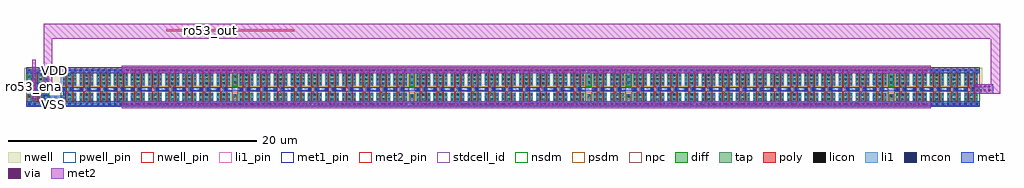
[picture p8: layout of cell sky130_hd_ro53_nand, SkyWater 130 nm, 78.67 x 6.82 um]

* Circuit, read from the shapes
.subckt sky130_hd_ro53_nand VDD VSS ro53_ena ro53_out
XM1 n1 ro53_ena VSS VSS sky130_fd_pr__nfet_01v8 w=0.65 l=0.15
XM2 sky130_hd_inv_1_7/A ro53_out n1 VSS sky130_fd_pr__nfet_01v8 w=0.65 l=0.15
XM3 sky130_hd_inv_1_8/A sky130_hd_inv_1_7/A VSS VSS sky130_fd_pr__nfet_01v8 w=0.65 l=0.15 m=2
XM4 sky130_hd_inv_1_9/A sky130_hd_inv_1_8/A VSS VSS sky130_fd_pr__nfet_01v8 w=0.65 l=0.15 m=2
XM5 sky130_hd_inv_1_10/A sky130_hd_inv_1_9/A VSS VSS sky130_fd_pr__nfet_01v8 w=0.65 l=0.15 m=2
XM6 sky130_hd_inv_1_11/A sky130_hd_inv_1_10/A VSS VSS sky130_fd_pr__nfet_01v8 w=0.65 l=0.15 m=2
XM7 sky130_hd_inv_1_12/A sky130_hd_inv_1_11/A VSS VSS sky130_fd_pr__nfet_01v8 w=0.65 l=0.15 m=2
XM8 sky130_hd_inv_1_13/A sky130_hd_inv_1_12/A VSS VSS sky130_fd_pr__nfet_01v8 w=0.65 l=0.15 m=2
XM9 sky130_hd_inv_1_14/A sky130_hd_inv_1_13/A VSS VSS sky130_fd_pr__nfet_01v8 w=0.65 l=0.15 m=2
XM10 sky130_hd_inv_1_15/A sky130_hd_inv_1_14/A VSS VSS sky130_fd_pr__nfet_01v8 w=0.65 l=0.15 m=2
XM11 sky130_hd_inv_1_16/A sky130_hd_inv_1_15/A VSS VSS sky130_fd_pr__nfet_01v8 w=0.65 l=0.15 m=2
XM12 sky130_hd_inv_1_17/A sky130_hd_inv_1_16/A VSS VSS sky130_fd_pr__nfet_01v8 w=0.65 l=0.15 m=2
XM13 sky130_hd_inv_1_18/A sky130_hd_inv_1_17/A VSS VSS sky130_fd_pr__nfet_01v8 w=0.65 l=0.15 m=2
XM14 sky130_hd_inv_1_19/A sky130_hd_inv_1_18/A VSS VSS sky130_fd_pr__nfet_01v8 w=0.65 l=0.15 m=2
XM15 sky130_hd_inv_1_20/A sky130_hd_inv_1_19/A VSS VSS sky130_fd_pr__nfet_01v8 w=0.65 l=0.15 m=2
XM16 sky130_hd_inv_1_21/A sky130_hd_inv_1_20/A VSS VSS sky130_fd_pr__nfet_01v8 w=0.65 l=0.15 m=2
XM17 sky130_hd_inv_1_22/A sky130_hd_inv_1_21/A VSS VSS sky130_fd_pr__nfet_01v8 w=0.65 l=0.15 m=2
XM18 sky130_hd_inv_1_23/A sky130_hd_inv_1_22/A VSS VSS sky130_fd_pr__nfet_01v8 w=0.65 l=0.15 m=2
XM19 sky130_hd_inv_1_24/A sky130_hd_inv_1_23/A VSS VSS sky130_fd_pr__nfet_01v8 w=0.65 l=0.15 m=2
XM20 sky130_hd_inv_1_25/A sky130_hd_inv_1_24/A VSS VSS sky130_fd_pr__nfet_01v8 w=0.65 l=0.15 m=2
XM21 sky130_hd_inv_1_26/A sky130_hd_inv_1_25/A VSS VSS sky130_fd_pr__nfet_01v8 w=0.65 l=0.15 m=2
XM22 sky130_hd_inv_1_27/A sky130_hd_inv_1_26/A VSS VSS sky130_fd_pr__nfet_01v8 w=0.65 l=0.15 m=2
XM23 sky130_hd_inv_1_28/A sky130_hd_inv_1_27/A VSS VSS sky130_fd_pr__nfet_01v8 w=0.65 l=0.15 m=2
XM24 sky130_hd_inv_1_29/A sky130_hd_inv_1_28/A VSS VSS sky130_fd_pr__nfet_01v8 w=0.65 l=0.15 m=2
XM25 sky130_hd_inv_1_30/A sky130_hd_inv_1_29/A VSS VSS sky130_fd_pr__nfet_01v8 w=0.65 l=0.15 m=2
XM26 sky130_hd_inv_1_31/A sky130_hd_inv_1_30/A VSS VSS sky130_fd_pr__nfet_01v8 w=0.65 l=0.15 m=2
XM27 sky130_hd_inv_1_32/A sky130_hd_inv_1_31/A VSS VSS sky130_fd_pr__nfet_01v8 w=0.65 l=0.15 m=2
XM28 sky130_hd_inv_1_33/A sky130_hd_inv_1_32/A VSS VSS sky130_fd_pr__nfet_01v8 w=0.65 l=0.15 m=2
XM29 sky130_hd_inv_1_34/A sky130_hd_inv_1_33/A VSS VSS sky130_fd_pr__nfet_01v8 w=0.65 l=0.15 m=2
XM30 sky130_hd_inv_1_35/A sky130_hd_inv_1_34/A VSS VSS sky130_fd_pr__nfet_01v8 w=0.65 l=0.15 m=2
XM31 sky130_hd_inv_1_36/A sky130_hd_inv_1_35/A VSS VSS sky130_fd_pr__nfet_01v8 w=0.65 l=0.15 m=2
XM32 sky130_hd_inv_1_37/A sky130_hd_inv_1_36/A VSS VSS sky130_fd_pr__nfet_01v8 w=0.65 l=0.15 m=2
XM33 sky130_hd_inv_1_38/A sky130_hd_inv_1_37/A VSS VSS sky130_fd_pr__nfet_01v8 w=0.65 l=0.15 m=2
XM34 sky130_hd_inv_1_39/A sky130_hd_inv_1_38/A VSS VSS sky130_fd_pr__nfet_01v8 w=0.65 l=0.15 m=2
XM35 sky130_hd_inv_1_40/A sky130_hd_inv_1_39/A VSS VSS sky130_fd_pr__nfet_01v8 w=0.65 l=0.15 m=2
XM36 sky130_hd_inv_1_41/A sky130_hd_inv_1_40/A VSS VSS sky130_fd_pr__nfet_01v8 w=0.65 l=0.15 m=2
XM37 sky130_hd_inv_1_42/A sky130_hd_inv_1_41/A VSS VSS sky130_fd_pr__nfet_01v8 w=0.65 l=0.15 m=2
XM38 sky130_hd_inv_1_43/A sky130_hd_inv_1_42/A VSS VSS sky130_fd_pr__nfet_01v8 w=0.65 l=0.15 m=2
XM39 sky130_hd_inv_1_44/A sky130_hd_inv_1_43/A VSS VSS sky130_fd_pr__nfet_01v8 w=0.65 l=0.15 m=2
XM40 sky130_hd_inv_1_45/A sky130_hd_inv_1_44/A VSS VSS sky130_fd_pr__nfet_01v8 w=0.65 l=0.15 m=2
XM41 sky130_hd_inv_1_46/A sky130_hd_inv_1_45/A VSS VSS sky130_fd_pr__nfet_01v8 w=0.65 l=0.15 m=2
XM42 sky130_hd_inv_1_47/A sky130_hd_inv_1_46/A VSS VSS sky130_fd_pr__nfet_01v8 w=0.65 l=0.15 m=2
XM43 sky130_hd_inv_1_48/A sky130_hd_inv_1_47/A VSS VSS sky130_fd_pr__nfet_01v8 w=0.65 l=0.15 m=2
XM44 sky130_hd_inv_1_49/A sky130_hd_inv_1_48/A VSS VSS sky130_fd_pr__nfet_01v8 w=0.65 l=0.15 m=2
XM45 sky130_hd_inv_1_50/A sky130_hd_inv_1_49/A VSS VSS sky130_fd_pr__nfet_01v8 w=0.65 l=0.15 m=2
XM46 sky130_hd_inv_1_51/A sky130_hd_inv_1_50/A VSS VSS sky130_fd_pr__nfet_01v8 w=0.65 l=0.15 m=2
XM47 sky130_hd_inv_1_52/A sky130_hd_inv_1_51/A VSS VSS sky130_fd_pr__nfet_01v8 w=0.65 l=0.15 m=2
XM48 sky130_hd_inv_1_53/A sky130_hd_inv_1_52/A VSS VSS sky130_fd_pr__nfet_01v8 w=0.65 l=0.15 m=2
XM49 sky130_hd_inv_1_54/A sky130_hd_inv_1_53/A VSS VSS sky130_fd_pr__nfet_01v8 w=0.65 l=0.15 m=2
XM50 sky130_hd_inv_1_55/A sky130_hd_inv_1_54/A VSS VSS sky130_fd_pr__nfet_01v8 w=0.65 l=0.15 m=2
XM51 sky130_hd_inv_1_56/A sky130_hd_inv_1_55/A VSS VSS sky130_fd_pr__nfet_01v8 w=0.65 l=0.15 m=2
XM52 sky130_hd_inv_1_57/A sky130_hd_inv_1_56/A VSS VSS sky130_fd_pr__nfet_01v8 w=0.65 l=0.15 m=2
XM53 sky130_hd_inv_1_58/A sky130_hd_inv_1_57/A VSS VSS sky130_fd_pr__nfet_01v8 w=0.65 l=0.15 m=2
XM54 ro53_out sky130_hd_inv_1_58/A VSS VSS sky130_fd_pr__nfet_01v8 w=0.65 l=0.15 m=2
XM55 sky130_hd_inv_1_7/A ro53_ena VDD VDD sky130_fd_pr__pfet_01v8 w=1 l=0.15
XM56 VDD ro53_out sky130_hd_inv_1_7/A VDD sky130_fd_pr__pfet_01v8 w=1 l=0.15
XM57 sky130_hd_inv_1_8/A sky130_hd_inv_1_7/A VDD VDD sky130_fd_pr__pfet_01v8 w=1 l=0.15 m=2
XM58 sky130_hd_inv_1_9/A sky130_hd_inv_1_8/A VDD VDD sky130_fd_pr__pfet_01v8 w=1 l=0.15 m=2
XM59 sky130_hd_inv_1_10/A sky130_hd_inv_1_9/A VDD VDD sky130_fd_pr__pfet_01v8 w=1 l=0.15 m=2
XM60 sky130_hd_inv_1_11/A sky130_hd_inv_1_10/A VDD VDD sky130_fd_pr__pfet_01v8 w=1 l=0.15 m=2
XM61 sky130_hd_inv_1_12/A sky130_hd_inv_1_11/A VDD VDD sky130_fd_pr__pfet_01v8 w=1 l=0.15 m=2
XM62 sky130_hd_inv_1_13/A sky130_hd_inv_1_12/A VDD VDD sky130_fd_pr__pfet_01v8 w=1 l=0.15 m=2
XM63 sky130_hd_inv_1_14/A sky130_hd_inv_1_13/A VDD VDD sky130_fd_pr__pfet_01v8 w=1 l=0.15 m=2
XM64 sky130_hd_inv_1_15/A sky130_hd_inv_1_14/A VDD VDD sky130_fd_pr__pfet_01v8 w=1 l=0.15 m=2
XM65 sky130_hd_inv_1_16/A sky130_hd_inv_1_15/A VDD VDD sky130_fd_pr__pfet_01v8 w=1 l=0.15 m=2
XM66 sky130_hd_inv_1_17/A sky130_hd_inv_1_16/A VDD VDD sky130_fd_pr__pfet_01v8 w=1 l=0.15 m=2
XM67 sky130_hd_inv_1_18/A sky130_hd_inv_1_17/A VDD VDD sky130_fd_pr__pfet_01v8 w=1 l=0.15 m=2
XM68 sky130_hd_inv_1_19/A sky130_hd_inv_1_18/A VDD VDD sky130_fd_pr__pfet_01v8 w=1 l=0.15 m=2
XM69 sky130_hd_inv_1_20/A sky130_hd_inv_1_19/A VDD VDD sky130_fd_pr__pfet_01v8 w=1 l=0.15 m=2
XM70 sky130_hd_inv_1_21/A sky130_hd_inv_1_20/A VDD VDD sky130_fd_pr__pfet_01v8 w=1 l=0.15 m=2
XM71 sky130_hd_inv_1_22/A sky130_hd_inv_1_21/A VDD VDD sky130_fd_pr__pfet_01v8 w=1 l=0.15 m=2
XM72 sky130_hd_inv_1_23/A sky130_hd_inv_1_22/A VDD VDD sky130_fd_pr__pfet_01v8 w=1 l=0.15 m=2
XM73 sky130_hd_inv_1_24/A sky130_hd_inv_1_23/A VDD VDD sky130_fd_pr__pfet_01v8 w=1 l=0.15 m=2
XM74 sky130_hd_inv_1_25/A sky130_hd_inv_1_24/A VDD VDD sky130_fd_pr__pfet_01v8 w=1 l=0.15 m=2
XM75 sky130_hd_inv_1_26/A sky130_hd_inv_1_25/A VDD VDD sky130_fd_pr__pfet_01v8 w=1 l=0.15 m=2
XM76 sky130_hd_inv_1_27/A sky130_hd_inv_1_26/A VDD VDD sky130_fd_pr__pfet_01v8 w=1 l=0.15 m=2
XM77 sky130_hd_inv_1_28/A sky130_hd_inv_1_27/A VDD VDD sky130_fd_pr__pfet_01v8 w=1 l=0.15 m=2
XM78 sky130_hd_inv_1_29/A sky130_hd_inv_1_28/A VDD VDD sky130_fd_pr__pfet_01v8 w=1 l=0.15 m=2
XM79 sky130_hd_inv_1_30/A sky130_hd_inv_1_29/A VDD VDD sky130_fd_pr__pfet_01v8 w=1 l=0.15 m=2
XM80 sky130_hd_inv_1_31/A sky130_hd_inv_1_30/A VDD VDD sky130_fd_pr__pfet_01v8 w=1 l=0.15 m=2
XM81 sky130_hd_inv_1_32/A sky130_hd_inv_1_31/A VDD VDD sky130_fd_pr__pfet_01v8 w=1 l=0.15 m=2
XM82 sky130_hd_inv_1_33/A sky130_hd_inv_1_32/A VDD VDD sky130_fd_pr__pfet_01v8 w=1 l=0.15 m=2
XM83 sky130_hd_inv_1_34/A sky130_hd_inv_1_33/A VDD VDD sky130_fd_pr__pfet_01v8 w=1 l=0.15 m=2
XM84 sky130_hd_inv_1_35/A sky130_hd_inv_1_34/A VDD VDD sky130_fd_pr__pfet_01v8 w=1 l=0.15 m=2
XM85 sky130_hd_inv_1_36/A sky130_hd_inv_1_35/A VDD VDD sky130_fd_pr__pfet_01v8 w=1 l=0.15 m=2
XM86 sky130_hd_inv_1_37/A sky130_hd_inv_1_36/A VDD VDD sky130_fd_pr__pfet_01v8 w=1 l=0.15 m=2
XM87 sky130_hd_inv_1_38/A sky130_hd_inv_1_37/A VDD VDD sky130_fd_pr__pfet_01v8 w=1 l=0.15 m=2
XM88 sky130_hd_inv_1_39/A sky130_hd_inv_1_38/A VDD VDD sky130_fd_pr__pfet_01v8 w=1 l=0.15 m=2
XM89 sky130_hd_inv_1_40/A sky130_hd_inv_1_39/A VDD VDD sky130_fd_pr__pfet_01v8 w=1 l=0.15 m=2
XM90 sky130_hd_inv_1_41/A sky130_hd_inv_1_40/A VDD VDD sky130_fd_pr__pfet_01v8 w=1 l=0.15 m=2
XM91 sky130_hd_inv_1_42/A sky130_hd_inv_1_41/A VDD VDD sky130_fd_pr__pfet_01v8 w=1 l=0.15 m=2
XM92 sky130_hd_inv_1_43/A sky130_hd_inv_1_42/A VDD VDD sky130_fd_pr__pfet_01v8 w=1 l=0.15 m=2
XM93 sky130_hd_inv_1_44/A sky130_hd_inv_1_43/A VDD VDD sky130_fd_pr__pfet_01v8 w=1 l=0.15 m=2
XM94 sky130_hd_inv_1_45/A sky130_hd_inv_1_44/A VDD VDD sky130_fd_pr__pfet_01v8 w=1 l=0.15 m=2
XM95 sky130_hd_inv_1_46/A sky130_hd_inv_1_45/A VDD VDD sky130_fd_pr__pfet_01v8 w=1 l=0.15 m=2
XM96 sky130_hd_inv_1_47/A sky130_hd_inv_1_46/A VDD VDD sky130_fd_pr__pfet_01v8 w=1 l=0.15 m=2
XM97 sky130_hd_inv_1_48/A sky130_hd_inv_1_47/A VDD VDD sky130_fd_pr__pfet_01v8 w=1 l=0.15 m=2
XM98 sky130_hd_inv_1_49/A sky130_hd_inv_1_48/A VDD VDD sky130_fd_pr__pfet_01v8 w=1 l=0.15 m=2
XM99 sky130_hd_inv_1_50/A sky130_hd_inv_1_49/A VDD VDD sky130_fd_pr__pfet_01v8 w=1 l=0.15 m=2
XM100 sky130_hd_inv_1_51/A sky130_hd_inv_1_50/A VDD VDD sky130_fd_pr__pfet_01v8 w=1 l=0.15 m=2
XM101 sky130_hd_inv_1_52/A sky130_hd_inv_1_51/A VDD VDD sky130_fd_pr__pfet_01v8 w=1 l=0.15 m=2
XM102 sky130_hd_inv_1_53/A sky130_hd_inv_1_52/A VDD VDD sky130_fd_pr__pfet_01v8 w=1 l=0.15 m=2
XM103 sky130_hd_inv_1_54/A sky130_hd_inv_1_53/A VDD VDD sky130_fd_pr__pfet_01v8 w=1 l=0.15 m=2
XM104 sky130_hd_inv_1_55/A sky130_hd_inv_1_54/A VDD VDD sky130_fd_pr__pfet_01v8 w=1 l=0.15 m=2
XM105 sky130_hd_inv_1_56/A sky130_hd_inv_1_55/A VDD VDD sky130_fd_pr__pfet_01v8 w=1 l=0.15 m=2
XM106 sky130_hd_inv_1_57/A sky130_hd_inv_1_56/A VDD VDD sky130_fd_pr__pfet_01v8 w=1 l=0.15 m=2
XM107 sky130_hd_inv_1_58/A sky130_hd_inv_1_57/A VDD VDD sky130_fd_pr__pfet_01v8 w=1 l=0.15 m=2
XM108 ro53_out sky130_hd_inv_1_58/A VDD VDD sky130_fd_pr__pfet_01v8 w=1 l=0.15 m=2
.ends

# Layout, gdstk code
import gdstk
lib = gdstk.Library(unit=1e-6, precision=1e-09)
def R(c, l, rs):  # rectangles x0, y0, x1, y1
    for r in rs: c.add(gdstk.rectangle(r[:2], r[2:], *l))
def A(c, l, x, y, w, h, nx, ny, dx, dy):  # array of equal rectangles
    R(c, l, [(x+i*dx, y+j*dy, x+i*dx+w, y+j*dy+h) for i in range(nx) for j in range(ny)])
def P(c, l, *ps):  # polygons
    for p in ps: c.add(gdstk.Polygon(p, *l))
nwell_pin = (64, 16)
nwell = (64, 20)
diff = (65, 20)
tap = (65, 44)
poly = (66, 20)
licon = (66, 44)
li1_pin = (67, 16)
li1 = (67, 20)
mcon = (67, 44)
met1_pin = (68, 16)
met1 = (68, 20)
via = (68, 44)
met2_pin = (69, 16)
met2 = (69, 20)
stdcell_id = (81, 4)
nsdm = (93, 44)
psdm = (94, 20)
npc = (95, 20)
pwell_pin = (122, 16)

sky130_hd_tapvpwrvgnd_1 = lib.new_cell('sky130_hd_tapvpwrvgnd_1')
R(sky130_hd_tapvpwrvgnd_1, nwell, [(-0.19,1.305,0.65,2.91)])
R(sky130_hd_tapvpwrvgnd_1, tap, [(0.145,0.32,0.315,0.845), (0.145,1.525,0.315,2.4)])
R(sky130_hd_tapvpwrvgnd_1, licon, [(0.145,0.555,0.315,0.725), (0.145,1.645,0.315,1.815), (0.145,2.11,0.315,2.28)])
R(sky130_hd_tapvpwrvgnd_1, li1, [(0,-0.085,0.46,0.085), (0.085,0,0.375,0.81), (0.085,1.49,0.375,2.72), (0,2.635,0.46,2.805)])
R(sky130_hd_tapvpwrvgnd_1, mcon, [(0.145,-0.085,0.315,0.085), (0.145,2.635,0.315,2.805)])
R(sky130_hd_tapvpwrvgnd_1, met1_pin, [(0.105,-0.09,0.36,0.1), (0.11,2.62,0.375,2.765)])
R(sky130_hd_tapvpwrvgnd_1, met1, [(0,-0.24,0.46,0.24), (0,2.48,0.46,2.96)])
R(sky130_hd_tapvpwrvgnd_1, stdcell_id, [(0,0,0.46,2.72)])
R(sky130_hd_tapvpwrvgnd_1, nsdm, [(0,-0.19,0.46,0.19), (0,1.395,0.46,2.53)])
R(sky130_hd_tapvpwrvgnd_1, psdm, [(0,0.19,0.46,0.975), (0,2.53,0.46,2.91)])
sky130_hd_tapvpwrvgnd_1.add(gdstk.Label('VPWR', (0.23,2.72), layer=68, texttype=5))
sky130_hd_tapvpwrvgnd_1.add(gdstk.Label('VGND', (0.23,0), layer=68, texttype=5))

sky130_hd_nand2_1 = lib.new_cell('sky130_hd_nand2_1')
R(sky130_hd_nand2_1, nwell_pin, [(0.14,2.635,0.31,2.805)])
R(sky130_hd_nand2_1, nwell, [(-0.19,1.305,1.57,2.91)])
R(sky130_hd_nand2_1, diff, [(0.155,0.235,1.245,0.885), (0.155,1.485,1.245,2.485)])
P(sky130_hd_nand2_1, poly, [(0.415,0.105),(0.415,0.995),(0.105,0.995),(0.105,1.325),(0.415,1.325),(0.415,2.615),(0.565,2.615),(0.565,0.105)],
  [(0.835,0.105),(0.835,2.615),(0.985,2.615),(0.985,1.325),(1.275,1.325),(1.275,0.995),(0.985,0.995),(0.985,0.105)])
A(sky130_hd_nand2_1, licon, 0.195, 1.575, 0.17, 0.17, 3, 3, 0.42, 0.34)
R(sky130_hd_nand2_1, licon, [(0.195,0.295,0.365,0.465), (1.035,0.295,1.205,0.465), (0.195,0.635,0.365,0.805), (1.035,0.635,1.205,0.805), (0.18,1.075,0.35,1.245), (1.02,1.075,1.19,1.245)])
A(sky130_hd_nand2_1, li1_pin, 0.14, 1.105, 0.17, 0.17, 3, 1, 0.46, 0)
R(sky130_hd_nand2_1, li1_pin, [(0.6,0.425,0.77,0.595), (0.6,0.765,0.77,0.935)])
R(sky130_hd_nand2_1, li1, [(0.095,1.055,0.43,1.325), (0.94,1.075,1.275,1.325)])
P(sky130_hd_nand2_1, li1, [(0.6,0.255),(0.6,1.485),(0.535,1.485),(0.535,2.465),(0.865,2.465),(0.865,1.485),(0.77,1.485),(0.77,0.885),(1.295,0.885),(1.295,0.255)],
  [(0.085,1.495),(0.085,2.635),(0,2.635),(0,2.805),(1.38,2.805),(1.38,2.635),(1.295,2.635),(1.295,1.495),(1.035,1.495),(1.035,2.635),(0.365,2.635),(0.365,1.495)],
  [(0,-0.085),(0,0.085),(0.085,0.085),(0.085,0.885),(0.395,0.885),(0.395,0.085),(1.38,0.085),(1.38,-0.085)])
A(sky130_hd_nand2_1, mcon, 0.145, -0.085, 0.17, 0.17, 3, 2, 0.46, 2.72)
R(sky130_hd_nand2_1, met1_pin, [(0.14,-0.085,0.31,0.085), (0.14,2.635,0.31,2.805)])
R(sky130_hd_nand2_1, stdcell_id, [(0,0,1.38,2.72)])
R(sky130_hd_nand2_1, nsdm, [(0,-0.19,1.38,1.015)])
R(sky130_hd_nand2_1, psdm, [(0,1.355,1.38,2.91)])
R(sky130_hd_nand2_1, npc, [(0,0.975,1.38,1.345)])
R(sky130_hd_nand2_1, pwell_pin, [(0.14,-0.085,0.31,0.085)])
sky130_hd_nand2_1.add(gdstk.FlexPath([(0,0),(1.38,0)], 0.48, ends="flush", simple_path=True, layer=68, datatype=20))  # met1
sky130_hd_nand2_1.add(gdstk.FlexPath([(0,2.72),(1.38,2.72)], 0.48, ends="flush", simple_path=True, layer=68, datatype=20))  # met1
sky130_hd_nand2_1.add(gdstk.Label('VPWR', (0.225,2.72), layer=68, texttype=5))
sky130_hd_nand2_1.add(gdstk.Label('VGND', (0.23,0), layer=68, texttype=5))
sky130_hd_nand2_1.add(gdstk.Label('A', (1.145,1.19), layer=67, texttype=5))
sky130_hd_nand2_1.add(gdstk.Label('B', (0.225,1.19), layer=67, texttype=5))
sky130_hd_nand2_1.add(gdstk.Label('Y', (0.685,0.51), layer=67, texttype=5))
sky130_hd_nand2_1.add(gdstk.Label('Y', (0.685,0.85), layer=67, texttype=5))
sky130_hd_nand2_1.add(gdstk.Label('Y', (0.685,1.19), layer=67, texttype=5))
sky130_hd_nand2_1.add(gdstk.Label('VNB', (0.225,0), layer=64, texttype=59))
sky130_hd_nand2_1.add(gdstk.Label('VPB', (0.225,2.72), layer=64, texttype=5))

sky130_hd_inv_1 = lib.new_cell('sky130_hd_inv_1')
R(sky130_hd_inv_1, nwell_pin, [(0.145,2.635,0.315,2.805)])
R(sky130_hd_inv_1, nwell, [(-0.19,1.305,1.57,2.91)])
R(sky130_hd_inv_1, diff, [(0.145,0.235,1.235,0.885), (0.145,1.485,1.235,2.485)])
P(sky130_hd_inv_1, poly, [(0.405,0.105),(0.405,0.995),(0.105,0.995),(0.105,1.325),(0.405,1.325),(0.405,2.615),(0.555,2.615),(0.555,1.325),(0.825,1.325),(0.825,2.615),(0.975,2.615),(0.975,0.105),(0.825,0.105),(0.825,0.995),(0.555,0.995),(0.555,0.105)])
A(sky130_hd_inv_1, licon, 0.185, 0.295, 0.17, 0.17, 3, 2, 0.42, 0.36)
A(sky130_hd_inv_1, licon, 0.185, 1.575, 0.17, 0.17, 3, 3, 0.42, 0.34)
R(sky130_hd_inv_1, licon, [(0.185,1.075,0.355,1.245)])
R(sky130_hd_inv_1, li1_pin, [(0.605,0.765,0.775,0.935), (0.145,1.105,0.315,1.275), (0.615,1.105,0.785,1.275), (0.605,1.445,0.775,1.615)])
R(sky130_hd_inv_1, li1, [(0.105,1.075,0.435,1.325), (0.855,1.075,1.035,1.325)])
P(sky130_hd_inv_1, li1, [(0,-0.085),(0,0.085),(0.125,0.085),(0.125,0.905),(0.355,0.905),(0.355,0.085),(1.025,0.085),(1.025,0.905),(1.235,0.905),(1.235,0.085),(1.38,0.085),(1.38,-0.085)],
  [(0.125,1.495),(0.125,2.635),(0,2.635),(0,2.805),(1.38,2.805),(1.38,2.635),(1.235,2.635),(1.235,1.495),(1.025,1.495),(1.025,2.635),(0.355,2.635),(0.355,1.495)],
  [(0.525,0.255),(0.525,0.885),(0.605,0.885),(0.605,1.485),(0.525,1.485),(0.525,2.465),(0.855,2.465),(0.855,0.255)])
A(sky130_hd_inv_1, mcon, 0.145, -0.085, 0.17, 0.17, 3, 2, 0.46, 2.72)
R(sky130_hd_inv_1, mcon, [(0.16,1.105,0.33,1.275), (0.8,1.105,0.97,1.275)])
R(sky130_hd_inv_1, met1_pin, [(0.145,-0.085,0.315,0.085), (0.145,2.635,0.315,2.805)])
R(sky130_hd_inv_1, met1, [(0.725,1.055,1.79,1.335)])
R(sky130_hd_inv_1, stdcell_id, [(0,0,1.38,2.72)])
R(sky130_hd_inv_1, nsdm, [(0,-0.19,1.38,1.015)])
R(sky130_hd_inv_1, psdm, [(0,1.355,1.38,2.91)])
R(sky130_hd_inv_1, npc, [(0,0.975,1.38,1.345)])
R(sky130_hd_inv_1, pwell_pin, [(0.145,-0.085,0.315,0.085)])
sky130_hd_inv_1.add(gdstk.FlexPath([(0,0),(1.38,0)], 0.48, ends="flush", simple_path=True, layer=68, datatype=20))  # met1
sky130_hd_inv_1.add(gdstk.FlexPath([(0,2.72),(1.38,2.72)], 0.48, ends="flush", simple_path=True, layer=68, datatype=20))  # met1
sky130_hd_inv_1.add(gdstk.Label('VGND', (0.23,0), layer=68, texttype=5))
sky130_hd_inv_1.add(gdstk.Label('VPWR', (0.23,2.72), layer=68, texttype=5))
sky130_hd_inv_1.add(gdstk.Label('A', (0.23,1.19), layer=67, texttype=5))
sky130_hd_inv_1.add(gdstk.Label('Y', (0.69,0.85), layer=67, texttype=5))
sky130_hd_inv_1.add(gdstk.Label('Y', (0.7,1.195), layer=67, texttype=5))
sky130_hd_inv_1.add(gdstk.Label('Y', (0.69,1.53), layer=67, texttype=5))
sky130_hd_inv_1.add(gdstk.Label('VNB', (0.23,0), layer=64, texttype=59))
sky130_hd_inv_1.add(gdstk.Label('VPB', (0.23,2.72), layer=64, texttype=5))

sky130_hd_ro53_nand = lib.new_cell('sky130_hd_ro53_nand')
R(sky130_hd_ro53_nand, nwell, [(-1.435,1.255,-0.225,2.86)])
R(sky130_hd_ro53_nand, li1, [(73.265,1.025,73.61,1.275)])
R(sky130_hd_ro53_nand, mcon, [(-1.915,0.435,-1.745,0.605), (-2.62,1.055,-2.45,1.225), (73.39,1.06,73.56,1.23), (-1.77,1.095,-1.6,1.265)])
R(sky130_hd_ro53_nand, met1_pin, [(-1.255,-0.185,-0.675,0.1), (-1.21,2.56,-0.68,2.8)])
R(sky130_hd_ro53_nand, met1, [(-1.46,-0.29,-0.42,0.19), (-2.035,0.36,-1.525,0.68), (73.255,0.795,74.72,1.535), (-2.77,0.89,-2.265,1.35), (-1.915,0.965,-1.415,1.36), (-1.575,0.965,-1.14,1.64), (-0.35,0.98,0.01,1.29), (73.13,0.985,74.18,1.29), (66.66,1.005,67.145,1.285), (13.76,1.025,14.235,1.275), (28.02,1.025,28.5,1.275), (42.28,1.025,42.76,1.275), (45.5,1.025,45.97,1.275), (-2.765,1.345,-2.265,1.645), (-1.915,1.345,-1.415,1.645), (-1.465,2.43,-0.37,2.91)])
A(sky130_hd_ro53_nand, via, 4.55, -0.125, 0.15, 0.15, 72, 1, 0.32, 0)
A(sky130_hd_ro53_nand, via, 27.93, -0.125, 0.15, 0.15, 71, 1, 0.32, 0)
A(sky130_hd_ro53_nand, via, 51.03, -0.125, 0.15, 0.15, 41, 1, 0.32, 0)
A(sky130_hd_ro53_nand, via, 64.155, -0.125, 0.15, 0.15, 17, 1, 0.32, 0)
A(sky130_hd_ro53_nand, via, 73.315, 0.97, 0.15, 0.15, 3, 2, 0.32, 0.32)
A(sky130_hd_ro53_nand, via, 4.835, 2.595, 0.15, 0.15, 71, 1, 0.32, 0)
A(sky130_hd_ro53_nand, via, 27.895, 2.595, 0.15, 0.15, 68, 1, 0.32, 0)
A(sky130_hd_ro53_nand, via, 50.995, 2.595, 0.15, 0.15, 41, 1, 0.32, 0)
A(sky130_hd_ro53_nand, via, 64.12, 2.595, 0.15, 0.15, 17, 1, 0.32, 0)
R(sky130_hd_ro53_nand, via, [(74.31,0.97,74.46,1.12), (-2.685,1.075,-2.535,1.225), (-1.755,1.08,-1.605,1.23), (-1.435,1.08,-1.285,1.23), (74.31,1.29,74.46,1.44), (-1.755,1.4,-1.605,1.55), (-1.435,1.4,-1.285,1.55), (-2.69,1.41,-2.54,1.56)])
R(sky130_hd_ro53_nand, met2_pin, [(-2.69,0.595,-2.565,2.035)])
P(sky130_hd_ro53_nand, met2_pin, [(8.035,5.82),(8.035,5.955),(13.035,5.955),(18.37,5.955),(18.37,5.82)])
R(sky130_hd_ro53_nand, met2, [(4.46,-0.4,69.675,0.19), (73.225,0.825,74.2,1.505), (-1.84,0.92,-1.145,5.505), (4.46,2.43,69.675,3.02), (-1.84,5.195,74.84,6.425)])
R(sky130_hd_ro53_nand, psdm, [(-1.63,1.305,-0.325,2.86)])
sky130_hd_ro53_nand.add(gdstk.FlexPath([(-1.87,0.505),(-0.18,0.505),(-0.18,1.2)], 0.2, ends="flush", simple_path=True, layer=68, datatype=20))  # met1
sky130_hd_ro53_nand.add(gdstk.FlexPath([(-2.63,3.53),(-2.63,0.38)], 0.3, ends="flush", simple_path=True, layer=69, datatype=20))  # met2
sky130_hd_ro53_nand.add(gdstk.FlexPath([(73.325,6.045),(74.87,6.045),(74.87,1.15),(73.195,1.15)], 0.75, ends="flush", simple_path=True, layer=69, datatype=20))  # met2
sky130_hd_ro53_nand.add(gdstk.Reference(sky130_hd_tapvpwrvgnd_1, (-3.24,-0.05)))
sky130_hd_ro53_nand.add(gdstk.Reference(sky130_hd_tapvpwrvgnd_1, (13.35,-0.05)))
sky130_hd_ro53_nand.add(gdstk.Reference(sky130_hd_tapvpwrvgnd_1, (27.61,-0.05)))
sky130_hd_ro53_nand.add(gdstk.Reference(sky130_hd_tapvpwrvgnd_1, (41.87,-0.05)))
sky130_hd_ro53_nand.add(gdstk.Reference(sky130_hd_tapvpwrvgnd_1, (45.09,-0.05)))
sky130_hd_ro53_nand.add(gdstk.Reference(sky130_hd_tapvpwrvgnd_1, (66.25,-0.05)))
sky130_hd_ro53_nand.add(gdstk.Reference(sky130_hd_nand2_1, (-2.78,-0.05)))
sky130_hd_ro53_nand.add(gdstk.Reference(sky130_hd_inv_1, (-0.45,-0.05)))
sky130_hd_ro53_nand.add(gdstk.Reference(sky130_hd_inv_1, (0.93,-0.05)))
sky130_hd_ro53_nand.add(gdstk.Reference(sky130_hd_inv_1, (2.31,-0.05)))
sky130_hd_ro53_nand.add(gdstk.Reference(sky130_hd_inv_1, (3.69,-0.05)))
sky130_hd_ro53_nand.add(gdstk.Reference(sky130_hd_inv_1, (5.07,-0.05)))
sky130_hd_ro53_nand.add(gdstk.Reference(sky130_hd_inv_1, (6.45,-0.05)))
sky130_hd_ro53_nand.add(gdstk.Reference(sky130_hd_inv_1, (7.83,-0.05)))
sky130_hd_ro53_nand.add(gdstk.Reference(sky130_hd_inv_1, (9.21,-0.05)))
sky130_hd_ro53_nand.add(gdstk.Reference(sky130_hd_inv_1, (10.59,-0.05)))
sky130_hd_ro53_nand.add(gdstk.Reference(sky130_hd_inv_1, (11.97,-0.05)))
sky130_hd_ro53_nand.add(gdstk.Reference(sky130_hd_inv_1, (13.81,-0.05)))
sky130_hd_ro53_nand.add(gdstk.Reference(sky130_hd_inv_1, (15.19,-0.05)))
sky130_hd_ro53_nand.add(gdstk.Reference(sky130_hd_inv_1, (16.57,-0.05)))
sky130_hd_ro53_nand.add(gdstk.Reference(sky130_hd_inv_1, (17.95,-0.05)))
sky130_hd_ro53_nand.add(gdstk.Reference(sky130_hd_inv_1, (19.33,-0.05)))
sky130_hd_ro53_nand.add(gdstk.Reference(sky130_hd_inv_1, (20.71,-0.05)))
sky130_hd_ro53_nand.add(gdstk.Reference(sky130_hd_inv_1, (22.09,-0.05)))
sky130_hd_ro53_nand.add(gdstk.Reference(sky130_hd_inv_1, (23.47,-0.05)))
sky130_hd_ro53_nand.add(gdstk.Reference(sky130_hd_inv_1, (24.85,-0.05)))
sky130_hd_ro53_nand.add(gdstk.Reference(sky130_hd_inv_1, (26.23,-0.05)))
sky130_hd_ro53_nand.add(gdstk.Reference(sky130_hd_inv_1, (28.07,-0.05)))
sky130_hd_ro53_nand.add(gdstk.Reference(sky130_hd_inv_1, (29.45,-0.05)))
sky130_hd_ro53_nand.add(gdstk.Reference(sky130_hd_inv_1, (30.83,-0.05)))
sky130_hd_ro53_nand.add(gdstk.Reference(sky130_hd_inv_1, (32.21,-0.05)))
sky130_hd_ro53_nand.add(gdstk.Reference(sky130_hd_inv_1, (33.59,-0.05)))
sky130_hd_ro53_nand.add(gdstk.Reference(sky130_hd_inv_1, (34.97,-0.05)))
sky130_hd_ro53_nand.add(gdstk.Reference(sky130_hd_inv_1, (36.35,-0.05)))
sky130_hd_ro53_nand.add(gdstk.Reference(sky130_hd_inv_1, (37.73,-0.05)))
sky130_hd_ro53_nand.add(gdstk.Reference(sky130_hd_inv_1, (39.11,-0.05)))
sky130_hd_ro53_nand.add(gdstk.Reference(sky130_hd_inv_1, (40.49,-0.05)))
sky130_hd_ro53_nand.add(gdstk.Reference(sky130_hd_inv_1, (42.33,-0.05)))
sky130_hd_ro53_nand.add(gdstk.Reference(sky130_hd_inv_1, (43.71,-0.05)))
sky130_hd_ro53_nand.add(gdstk.Reference(sky130_hd_inv_1, (45.55,-0.05)))
sky130_hd_ro53_nand.add(gdstk.Reference(sky130_hd_inv_1, (46.93,-0.05)))
sky130_hd_ro53_nand.add(gdstk.Reference(sky130_hd_inv_1, (48.31,-0.05)))
sky130_hd_ro53_nand.add(gdstk.Reference(sky130_hd_inv_1, (49.69,-0.05)))
sky130_hd_ro53_nand.add(gdstk.Reference(sky130_hd_inv_1, (51.07,-0.05)))
sky130_hd_ro53_nand.add(gdstk.Reference(sky130_hd_inv_1, (52.45,-0.05)))
sky130_hd_ro53_nand.add(gdstk.Reference(sky130_hd_inv_1, (53.83,-0.05)))
sky130_hd_ro53_nand.add(gdstk.Reference(sky130_hd_inv_1, (55.21,-0.05)))
sky130_hd_ro53_nand.add(gdstk.Reference(sky130_hd_inv_1, (56.59,-0.05)))
sky130_hd_ro53_nand.add(gdstk.Reference(sky130_hd_inv_1, (57.97,-0.05)))
sky130_hd_ro53_nand.add(gdstk.Reference(sky130_hd_inv_1, (59.35,-0.05)))
sky130_hd_ro53_nand.add(gdstk.Reference(sky130_hd_inv_1, (60.73,-0.05)))
sky130_hd_ro53_nand.add(gdstk.Reference(sky130_hd_inv_1, (62.11,-0.05)))
sky130_hd_ro53_nand.add(gdstk.Reference(sky130_hd_inv_1, (63.49,-0.05)))
sky130_hd_ro53_nand.add(gdstk.Reference(sky130_hd_inv_1, (64.87,-0.05)))
sky130_hd_ro53_nand.add(gdstk.Reference(sky130_hd_inv_1, (66.71,-0.05)))
sky130_hd_ro53_nand.add(gdstk.Reference(sky130_hd_inv_1, (68.09,-0.05)))
sky130_hd_ro53_nand.add(gdstk.Reference(sky130_hd_inv_1, (69.47,-0.05)))
sky130_hd_ro53_nand.add(gdstk.Reference(sky130_hd_inv_1, (70.85,-0.05)))
sky130_hd_ro53_nand.add(gdstk.Reference(sky130_hd_inv_1, (72.23,-0.05)))
sky130_hd_ro53_nand.add(gdstk.Label('VSS', (-1.025,-0.055), layer=68, texttype=5))
sky130_hd_ro53_nand.add(gdstk.Label('VDD', (-0.995,2.65), layer=68, texttype=5))
sky130_hd_ro53_nand.add(gdstk.Label('ro53_ena', (-2.655,1.39), layer=69, texttype=5))
sky130_hd_ro53_nand.add(gdstk.Label('ro53_out', (11.63,5.855), layer=69, texttype=5))

lib.write_gds('sky130_hd_ro53_nand.gds')
